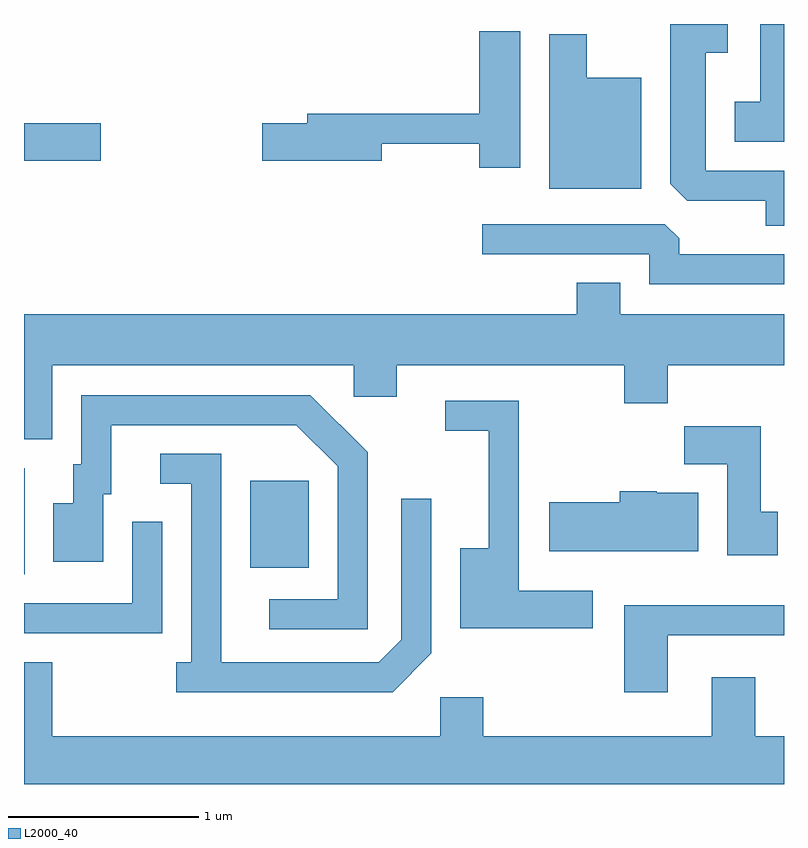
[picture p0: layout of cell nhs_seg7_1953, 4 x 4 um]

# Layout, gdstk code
import gdstk
lib = gdstk.Library(unit=1e-6, precision=1e-09)
def R(c, l, rs):  # rectangles x0, y0, x1, y1
    for r in rs: c.add(gdstk.rectangle(r[:2], r[2:], *l))
def P(c, l, *ps):  # polygons
    for p in ps: c.add(gdstk.Polygon(p, *l))
L2000_40 = (2000, 40)

nhs_seg7_1953 = lib.new_cell('nhs_seg7_1953')
R(nhs_seg7_1953, L2000_40, [(243.611,1795.356,243.614,1795.914), (244.801,1795.391,245.109,1795.849), (243.611,1797.531,244.014,1797.729)])
P(nhs_seg7_1953, L2000_40, [(247.611,1798.252),(247.486,1798.252),(247.486,1797.844),(247.351,1797.844),(247.351,1797.631),(247.611,1797.631)],
  [(247.611,1797.479),(247.199,1797.479),(247.199,1798.101),(247.314,1798.101),(247.314,1798.252),(247.011,1798.252),(247.011,1797.412),(247.102,1797.321),(247.516,1797.321),(247.516,1797.191),(247.611,1797.191)],
  [(246.224,1798.214),(246.006,1798.214),(246.006,1797.779),(245.101,1797.779),(245.101,1797.729),(244.866,1797.729),(244.866,1797.531),(245.494,1797.531),(245.494,1797.621),(246.006,1797.621),(246.006,1797.496),(246.224,1797.496)],
  [(246.859,1797.969),(246.574,1797.969),(246.574,1798.199),(246.376,1798.199),(246.376,1797.386),(246.859,1797.386)],
  [(247.611,1797.039),(247.059,1797.039),(247.059,1797.124),(246.984,1797.199),(246.023,1797.199),(246.023,1797.041),(246.901,1797.041),(246.901,1796.881),(247.611,1796.881)],
  [(243.759,1796.456),(245.346,1796.456),(245.346,1796.291),(245.574,1796.291),(245.574,1796.456),(246.771,1796.456),(246.771,1796.256),(246.999,1796.256),(246.999,1796.456),(247.611,1796.456),(247.611,1796.724),(246.749,1796.724),(246.749,1796.889),(246.521,1796.889),(246.521,1796.724),(243.611,1796.724),(243.611,1796.066),(243.759,1796.066)],
  [(245.419,1795.997),(245.117,1796.299),(243.911,1796.299),(243.911,1795.934),(243.871,1795.934),(243.871,1795.729),(243.766,1795.729),(243.766,1795.421),(244.029,1795.421),(244.029,1795.776),(244.069,1795.776),(244.069,1796.141),(245.044,1796.141),(245.261,1795.924),(245.261,1795.224),(244.903,1795.224),(244.903,1795.066),(245.419,1795.066)],
  [(246.604,1795.269),(246.214,1795.269),(246.214,1796.269),(245.828,1796.269),(245.828,1796.111),(246.056,1796.111),(246.056,1795.494),(245.906,1795.494),(245.906,1795.071),(246.604,1795.071)],
  [(247.579,1795.684),(247.489,1795.684),(247.489,1796.134),(247.086,1796.134),(247.086,1795.936),(247.311,1795.936),(247.311,1795.456),(247.579,1795.456)],
  [(245.754,1794.939),(245.754,1795.753),(245.596,1795.753),(245.596,1795.012),(245.479,1794.894),(244.649,1794.894),(244.649,1795.989),(244.328,1795.989),(244.328,1795.831),(244.491,1795.831),(244.491,1794.894),(244.413,1794.894),(244.413,1794.736),(245.552,1794.736)],
  [(247.159,1795.784),(246.94,1795.784),(246.94,1795.794),(246.746,1795.794),(246.746,1795.734),(246.376,1795.734),(246.376,1795.476),(247.159,1795.476)],
  [(244.339,1795.633),(244.181,1795.633),(244.181,1795.204),(243.611,1795.204),(243.611,1795.046),(244.339,1795.046)],
  [(246.999,1795.036),(247.611,1795.036),(247.611,1795.194),(246.771,1795.194),(246.771,1794.736),(246.999,1794.736)],
  [(247.611,1794.504),(247.459,1794.504),(247.459,1794.814),(247.231,1794.814),(247.231,1794.504),(246.029,1794.504),(246.029,1794.709),(245.801,1794.709),(245.801,1794.504),(243.759,1794.504),(243.759,1794.894),(243.611,1794.894),(243.611,1794.252),(247.611,1794.252)])

lib.write_gds('nhs_seg7_1953.gds')
